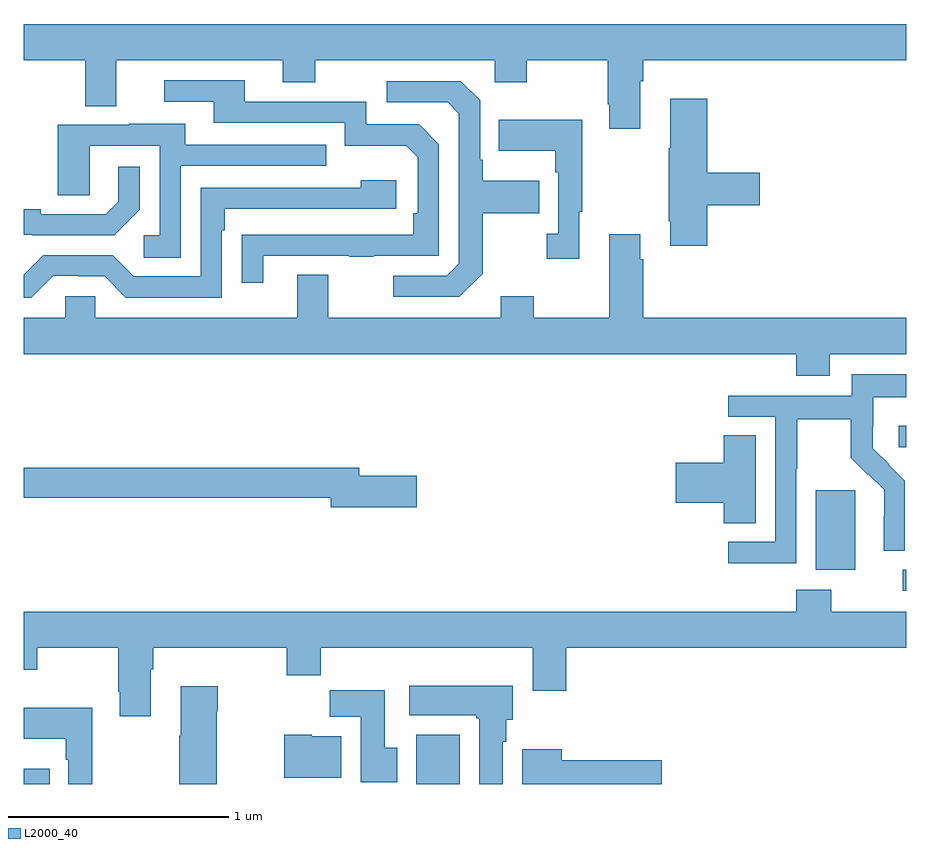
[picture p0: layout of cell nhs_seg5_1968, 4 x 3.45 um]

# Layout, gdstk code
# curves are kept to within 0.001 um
import gdstk
lib = gdstk.Library(unit=1e-6, precision=1e-09)
def R(c, l, rs):  # rectangles x0, y0, x1, y1
    for r in rs: c.add(gdstk.rectangle(r[:2], r[2:], *l))
def P(c, l, *ps):  # polygons
    for p in ps: c.add(gdstk.Polygon(p, *l))
L2000_40 = (2000, 40)

nhs_seg5_1968 = lib.new_cell('nhs_seg5_1968')
R(nhs_seg5_1968, L2000_40, [(227,866.799,227.117,866.869), (228.779,866.799,228.976,867.022), (230.985,867.675,231,867.771), (230.591,867.77,230.77,868.131), (230.967,868.326,231,868.423)])
P(nhs_seg5_1968, L2000_40, [(229.795,869.984),(229.808,869.984),(229.808,870.08),(231,870.08),(231,870.244),(227,870.244),(227,870.08),(227.279,870.08),(227.279,869.872),(227.419,869.872),(227.419,870.08),(228.173,870.08),(228.173,869.981),(228.321,869.981),(228.321,870.08),(229.134,870.08),(229.134,869.981),(229.281,869.981),(229.281,870.08),(229.648,870.08),(229.648,869.881),(229.655,869.881),(229.655,869.769),(229.795,869.769)],
  [(228.085,869.193),(228.475,869.193),(228.475,869.188),(228.587,869.188),(228.587,869.193),(228.882,869.193),(228.882,869.7),(228.792,869.79),(228.552,869.79),(228.552,869.892),(228.001,869.892),(228.001,869.988),(227.637,869.988),(227.637,869.892),(227.861,869.892),(227.861,869.796),(228.456,869.796),(228.456,869.693),(228.733,869.693),(228.786,869.64),(228.786,869.386),(228.766,869.386),(228.766,869.289),(227.989,869.288),(227.989,869.07),(228.085,869.07)],
  [(229.081,869.113),(229.081,869.386),(229.337,869.386),(229.337,869.533),(229.081,869.533),(229.081,869.629),(229.068,869.629),(229.068,869.898),(228.981,869.985),(228.645,869.985),(228.645,869.889),(228.921,869.889),(228.972,869.838),(228.972,869.157),(228.918,869.103),(228.675,869.103),(228.675,869.007),(228.975,869.007)],
  [(230.099,869.423),(230.335,869.423),(230.335,869.57),(230.099,869.57),(230.099,869.905),(229.931,869.905),(229.931,869.681),(229.924,869.681),(229.924,869.35),(229.931,869.35),(229.931,869.238),(230.099,869.238)],
  [(229.519,869.393),(229.531,869.393),(229.531,869.809),(229.153,869.809),(229.153,869.669),(229.41,869.669),(229.41,869.573),(229.422,869.573),(229.422,869.294),(229.371,869.294),(229.371,869.181),(229.519,869.181)],
  [(227.712,869.601),(228.371,869.601),(228.371,869.697),(227.731,869.697),(227.731,869.791),(227.477,869.791),(227.477,869.787),(227.153,869.787),(227.153,869.467),(227.298,869.467),(227.298,869.691),(227.616,869.691),(227.616,869.286),(227.544,869.286),(227.544,869.185),(227.712,869.185)],
  [(227.526,869.402),(227.526,869.596),(227.429,869.596),(227.429,869.439),(227.372,869.382),(227.077,869.382),(227.077,869.405),(227,869.405),(227,869.289),(227.038,869.289),(227.038,869.286),(227.41,869.286)],
  [(227.133,869.103),(227.249,869.103),(227.249,869.1),(227.367,869.1),(227.463,869.004),(227.898,869.004),(227.898,869.309),(227.911,869.309),(227.911,869.406),(228.688,869.406),(228.688,869.536),(228.527,869.536),(228.527,869.502),(227.802,869.502),(227.802,869.1),(227.499,869.1),(227.403,869.196),(227.088,869.196),(227,869.108),(227,869.003),(227.033,869.003)],
  [(230.653,868.748),(231,868.748),(231,868.912),(229.808,868.912),(229.808,869.177),(229.795,869.177),(229.795,869.29),(229.655,869.29),(229.655,868.912),(229.311,868.912),(229.311,869.011),(229.163,869.011),(229.163,868.912),(228.379,868.912),(228.379,869.107),(228.239,869.107),(228.239,868.912),(227.325,868.912),(227.325,869.01),(227.187,869.01),(227.187,868.912),(227,868.912),(227,868.748),(230.501,868.748),(230.501,868.649),(230.653,868.649)],
  [(230.502,868.228),(230.505,868.228),(230.505,868.452),(230.749,868.452),(230.749,868.277),(230.826,868.2),(230.829,868.203),(230.9,868.133),(230.9,868.01),(230.898,868.01),(230.898,867.856),(230.994,867.856),(230.994,868.174),(230.848,868.322),(230.848,868.419),(230.85,868.419),(230.85,868.553),(231,868.553),(231,868.657),(230.754,868.657),(230.754,868.56),(230.193,868.56),(230.193,868.464),(230.406,868.464),(230.406,867.897),(230.193,867.897),(230.193,867.799),(230.502,867.799)],
  [(230.317,868.379),(230.174,868.379),(230.174,868.256),(229.956,868.256),(229.956,868.073),(230.174,868.073),(230.174,867.982),(230.317,867.982)],
  [(228.781,868.196),(228.52,868.196),(228.52,868.232),(227,868.232),(227,868.096),(228.392,868.096),(228.392,868.054),(228.781,868.054)],
  [(227.575,867.32),(227.588,867.32),(227.588,867.416),(228.191,867.416),(228.191,867.292),(228.347,867.292),(228.347,867.416),(229.307,867.416),(229.307,867.222),(229.46,867.222),(229.46,867.416),(231,867.416),(231,867.58),(230.661,867.58),(230.661,867.679),(230.501,867.679),(230.501,867.58),(227,867.58),(227,867.317),(227.061,867.317),(227.061,867.416),(227.428,867.416),(227.428,867.217),(227.435,867.217),(227.435,867.105),(227.575,867.105)],
  [(229.171,866.99),(229.186,866.99),(229.186,867.09),(229.216,867.09),(229.216,867.244),(228.747,867.244),(228.747,867.11),(229.051,867.11),(229.051,867.097),(229.064,867.097),(229.064,866.799),(229.171,866.799)],
  [(227.874,867.128),(227.879,867.128),(227.879,867.241),(227.711,867.241),(227.711,867.017),(227.704,867.017),(227.704,866.799),(227.874,866.799)],
  [(228.694,866.964),(228.637,866.964),(228.637,867.223),(228.388,867.223),(228.388,867.104),(228.527,867.104),(228.527,866.808),(228.694,866.808)],
  [(227.311,867.145),(227,867.145),(227,867.005),(227.19,867.005),(227.19,866.909),(227.202,866.909),(227.202,866.799),(227.311,866.799)],
  [(228.439,867.016),(228.306,867.016),(228.306,867.022),(228.181,867.022),(228.181,866.828),(228.439,866.828)],
  [(229.891,866.906),(229.438,866.906),(229.438,866.956),(229.259,866.956),(229.259,866.799),(229.891,866.799)])

lib.write_gds('nhs_seg5_1968.gds')
